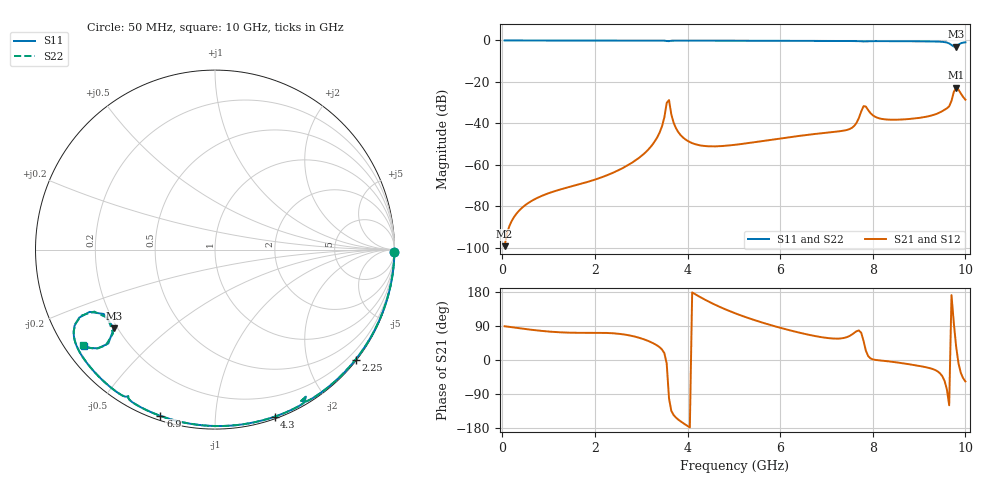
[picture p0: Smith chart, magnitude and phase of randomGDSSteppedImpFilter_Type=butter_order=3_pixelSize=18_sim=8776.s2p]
! freq	dB(S11)	phase(S11)	dB(S12)	phase(S12)
!  dB(S21)	phase(S21)	dB(S22)	phase(S22)
!S-par simulation data
#  GHz  S  DB  R 50
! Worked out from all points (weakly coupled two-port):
!   200 points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, 50 MHz to 10 GHz, reference 50 ohm
!   highest |S21| = -22.80 dB at 9.8 GHz (marker M1); lowest = -99.2 dB at 50 MHz (marker M2)
!   lowest |S11| = -2.9 dB at 9.8 GHz (marker M3), VSWR 5.98, Z = 9.31 - j16.6 ohm
!   |S11| at or under -10 dB: nowhere
!   |S22| runs from -3.0 to 0.0 dB; largest |S21 - S12| = 0
!   S11 on the Smith chart (normalised r, x): 50 MHz: open; 2.25 GHz: 0.03, -2.90; 4.3 GHz: 0.02, -1.42; 6.9 GHz: 0.02, -0.72; 10 GHz: 0.06, -0.33
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0.05  -0.00 -0.9  -99.23 89.1  -99.23 89.1  -0.00 -0.9
0.45  -0.01 -7.8  -80.26 82.4  -80.26 82.4  -0.01 -7.8
1.75  -0.04 -29.8  -68.83 71.7  -68.83 71.7  -0.04 -29.8
2.25  -0.05 -38.1  -65.12 71.4  -65.12 71.4  -0.05 -38.1
3  -0.07 -50.3  -55.80 57.0  -55.80 57.0  -0.07 -50.3
3.4  -0.08 -56.9  -44.27 33.4  -44.27 33.4  -0.08 -56.9
3.5  -0.11 -58.9  -37.06 17.9  -37.06 17.9  -0.11 -59.0
3.55  -0.26 -60.3  -30.11 -9.1  -30.11 -9.1  -0.26 -60.4
3.6  -0.33 -58.3  -28.77 -101.2  -28.77 -101.2  -0.33 -58.3
3.7  -0.10 -60.7  -39.69 -145.2  -39.69 -145.2  -0.10 -60.7
3.8  -0.09 -62.5  -44.20 -157.2  -44.20 -157.2  -0.09 -62.5
4.3  -0.10 -70.4  -50.72 164.2  -50.72 164.2  -0.10 -70.4
5.05  -0.13 -81.6  -50.27 122.3  -50.27 122.3  -0.13 -81.7
6.7  -0.21 -105.3  -45.24 64.5  -45.24 64.5  -0.21 -105.4
6.9  -0.22 -108.1  -44.73 60.0  -44.73 60.0  -0.22 -108.2
7.55  -0.28 -117.4  -42.14 67.2  -42.14 67.2  -0.28 -117.4
7.8  -0.46 -120.6  -31.69 50.9  -31.69 50.9  -0.46 -120.7
8.35  -0.33 -128.0  -38.21 -3.7  -38.21 -3.7  -0.34 -128.1
9.45  -0.59 -146.5  -34.70 -34.9  -34.70 -34.9  -0.61 -146.8
9.65  -1.45 -153.4  -31.79 -119.5  -31.79 -119.5  -1.62 -153.7
9.8  -2.93 -142.1  -22.80 35.4  -22.80 35.4  -2.68 -140.6
10  -0.89 -143.6  -28.56 -56.5  -28.56 -56.5  -0.85 -143.9
